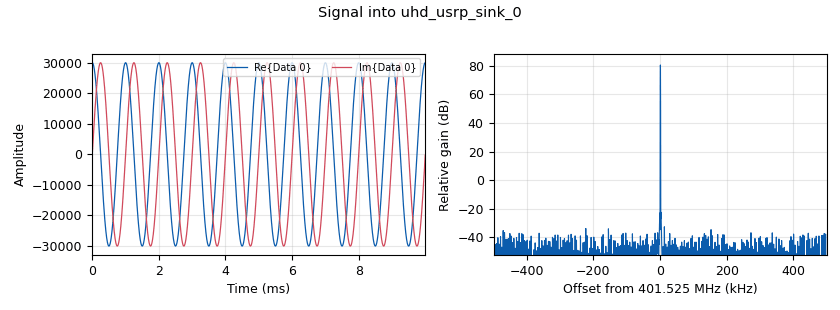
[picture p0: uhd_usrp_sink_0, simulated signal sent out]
options:
  parameters:
    generate_options: qt_gui
    id: pvcw401M25loopbacksobexChB
    output_language: python
    title: CW Channel B (Tx B to Rx B) loopback at 401.25MHz
  states: {}

blocks:
- name: freq
  id: variable
  parameters:
    value: '401525000'
  states: {}
- name: rx_rec_t
  id: variable
  parameters:
    value: '1.5'
  states: {}
- name: rx_sob_s
  id: variable
  parameters:
    value: '2'
  states: {}
- name: samp_rate
  id: variable
  parameters:
    value: '1000000'
  states: {}
- name: tx_sob_s
  id: variable
  parameters:
    value: rx_sob_s+0.5
  states: {}
- name: analog_sig_source_x_0
  id: analog_sig_source_x
  parameters:
    amp: '1'
    freq: '1000'
    offset: '0'
    phase: '0'
    samp_rate: samp_rate
    type: complex
    waveform: analog.GR_COS_WAVE
  states: {}
- name: blocks_complex_to_interleaved_short_0
  id: blocks_complex_to_interleaved_short
  parameters:
    scale_factor: '30000'
    vector_output: 'True'
  states: {}
- name: blocks_head_0
  id: blocks_head
  parameters:
    num_items: int(math.floor((rx_rec_t+rx_sob_s)*samp_rate*1.1))
    type: complex
  states: {}
- name: blocks_interleaved_short_to_complex_0
  id: blocks_interleaved_short_to_complex
  parameters:
    scale_factor: '1'
    vector_input: 'True'
  states: {}
- name: blocks_skiphead_0
  id: blocks_skiphead
  parameters:
    num_items: int((tx_sob_s-rx_sob_s)*samp_rate*0.5)
    type: complex
  states: {}
- name: import_0
  id: import
  parameters:
    imports: import math,cmath
  states: {}
- name: note_0
  id: note
  parameters:
    note: We start Tx streaming 0.5s after Rx, and drop 250k samples at 1MSPS.
  states: {}
- name: note_0_0
  id: note
  parameters:
    note: Samples should start at 250k
  states: {}
- name: qtgui_time_sink_x_0
  id: qtgui_time_sink_x
  parameters:
    grid: 'True'
    size: int(math.floor(samp_rate*rx_rec_t))
    srate: samp_rate
    tr_mode: qtgui.TRIG_MODE_NORM
    type: complex
    update_time: rx_rec_t+rx_sob_s
    ymax: '35000'
    ymin: '-35000'
  states: {}
- name: uhd_usrp_sink_0
  id: uhd_usrp_sink
  parameters:
    ant0: '"TX/RX"'
    bw0: '200000'
    center_freq0: freq
    dev_addr: ''
    dev_args: '"crimson"'
    gain0: '31'
    len_tag_name: ''
    otw: sc16
    samp_rate: samp_rate
    show_lo_controls: 'True'
    start_time: tx_sob_s
    stream_args: sc16
    stream_chans: '[1]'
    sync: sync
    type: sc16
  states: {}
- name: uhd_usrp_source_0_1
  id: uhd_usrp_source
  parameters:
    ant0: '"RX1"'
    bw0: samp_rate
    center_freq0: freq
    dev_addr: ''
    dev_args: '"crimson"'
    gain0: '50'
    otw: sc16
    rx_agc0: Disabled
    samp_rate: samp_rate
    start_time: rx_sob_s
    stream_chans: '[1]'
    sync: sync
    type: sc16
  states: {}

connections:
- [analog_sig_source_x_0, '0', blocks_complex_to_interleaved_short_0, '0']
- [blocks_complex_to_interleaved_short_0, '0', uhd_usrp_sink_0, '0']
- [blocks_head_0, '0', blocks_skiphead_0, '0']
- [blocks_interleaved_short_to_complex_0, '0', blocks_head_0, '0']
- [blocks_skiphead_0, '0', qtgui_time_sink_x_0, '0']
- [uhd_usrp_source_0_1, '0', blocks_interleaved_short_to_complex_0, '0']

metadata:
  file_format: 1
  grc_version: 3.10.8.0
